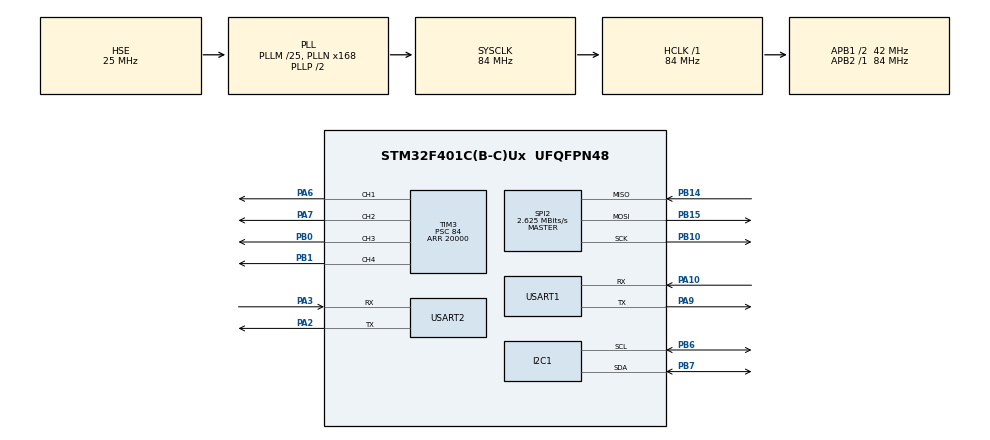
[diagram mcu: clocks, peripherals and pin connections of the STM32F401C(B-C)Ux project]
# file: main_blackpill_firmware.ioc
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Dma.Request0=USART1_RX
Dma.Request1=USART2_RX
Dma.USART1_RX.0.Direction=DMA_PERIPH_TO_MEMORY
Dma.USART1_RX.0.FIFOMode=DMA_FIFOMODE_DISABLE
Dma.USART1_RX.0.Instance=DMA2_Stream2
Dma.USART1_RX.0.MemDataAlignment=DMA_MDATAALIGN_BYTE
Dma.USART1_RX.0.MemInc=DMA_MINC_ENABLE
Dma.USART1_RX.0.Mode=DMA_CIRCULAR
Dma.USART1_RX.0.PeriphDataAlignment=DMA_PDATAALIGN_BYTE
Dma.USART1_RX.0.PeriphInc=DMA_PINC_DISABLE
Dma.USART1_RX.0.Priority=DMA_PRIORITY_LOW
Dma.USART2_RX.1.Direction=DMA_PERIPH_TO_MEMORY
Dma.USART2_RX.1.FIFOMode=DMA_FIFOMODE_DISABLE
Dma.USART2_RX.1.Instance=DMA1_Stream5
Dma.USART2_RX.1.MemDataAlignment=DMA_MDATAALIGN_BYTE
Dma.USART2_RX.1.MemInc=DMA_MINC_ENABLE
Dma.USART2_RX.1.Mode=DMA_CIRCULAR
Dma.USART2_RX.1.PeriphDataAlignment=DMA_PDATAALIGN_BYTE
Dma.USART2_RX.1.PeriphInc=DMA_PINC_DISABLE
Dma.USART2_RX.1.Priority=DMA_PRIORITY_LOW
Mcu.Family=STM32F4
Mcu.Name=STM32F401C(B-C)Ux
Mcu.Package=UFQFPN48
NVIC.DMA1_Stream5_IRQn=true\:0\:0\:false\:false\:true\:false\:true\:true
NVIC.DMA2_Stream2_IRQn=true\:0\:0\:false\:false\:true\:false\:true\:true
NVIC.PriorityGroup=NVIC_PRIORITYGROUP_4
NVIC.TIM3_IRQn=true\:0\:0\:false\:false\:true\:true\:true\:true
NVIC.USART1_IRQn=true\:0\:0\:false\:false\:true\:true\:true\:true
NVIC.USART2_IRQn=true\:0\:0\:false\:false\:true\:true\:true\:true
PA10.Mode=Asynchronous
PA10.Signal=USART1_RX
PA13.Mode=Serial_Wire
PA13.Signal=SYS_JTMS-SWDIO
PA14.Mode=Serial_Wire
PA14.Signal=SYS_JTCK-SWCLK
PA2.Mode=Asynchronous
PA2.Signal=USART2_TX
PA3.Mode=Asynchronous
PA3.Signal=USART2_RX
PA6.Signal=S_TIM3_CH1
PA7.Signal=S_TIM3_CH2
PA9.Mode=Asynchronous
PA9.Signal=USART1_TX
PB0.Signal=S_TIM3_CH3
PB1.Signal=S_TIM3_CH4
PB10.Mode=Full_Duplex_Master
PB10.Signal=SPI2_SCK
PB14.Mode=Full_Duplex_Master
PB14.Signal=SPI2_MISO
PB15.Mode=Full_Duplex_Master
PB15.Signal=SPI2_MOSI
PB6.Mode=I2C
PB6.Signal=I2C1_SCL
PB7.Mode=I2C
PB7.Signal=I2C1_SDA
PC14-OSC32_IN.Mode=LSE-External-Oscillator
PC14-OSC32_IN.Signal=RCC_OSC32_IN
PC15-OSC32_OUT.Mode=LSE-External-Oscillator
PC15-OSC32_OUT.Signal=RCC_OSC32_OUT
PH0\ -\ OSC_IN.Mode=HSE-External-Oscillator
PH0\ -\ OSC_IN.Signal=RCC_OSC_IN
PH1\ -\ OSC_OUT.Mode=HSE-External-Oscillator
PH1\ -\ OSC_OUT.Signal=RCC_OSC_OUT
ProjectManager.HeapSize=0x200
ProjectManager.StackSize=0x400
ProjectManager.TargetToolchain=STM32CubeIDE
RCC.48MHZClocksFreq_Value=42000000
RCC.AHBFreq_Value=84000000
RCC.APB1CLKDivider=RCC_HCLK_DIV2
RCC.APB1Freq_Value=42000000
RCC.APB1TimFreq_Value=84000000
RCC.APB2Freq_Value=84000000
RCC.APB2TimFreq_Value=84000000
RCC.CortexFreq_Value=84000000
RCC.EnbaleCSS=true
RCC.HCLKFreq_Value=84000000
RCC.HSE_VALUE=25000000
RCC.HSI_VALUE=16000000
RCC.PLLM=25
RCC.PLLN=168
RCC.PLLSourceVirtual=RCC_PLLSOURCE_HSE
RCC.SYSCLKFreq_VALUE=84000000
RCC.SYSCLKSource=RCC_SYSCLKSOURCE_PLLCLK
RCC.VCOOutputFreq_Value=168000000
SH.S_TIM3_CH1.0=TIM3_CH1,PWM Generation1 CH1
SH.S_TIM3_CH2.0=TIM3_CH2,PWM Generation2 CH2
SH.S_TIM3_CH3.0=TIM3_CH3,PWM Generation3 CH3
SH.S_TIM3_CH4.0=TIM3_CH4,PWM Generation4 CH4
SPI2.BaudRatePrescaler=SPI_BAUDRATEPRESCALER_16
SPI2.CLKPhase=SPI_PHASE_2EDGE
SPI2.CLKPolarity=SPI_POLARITY_HIGH
SPI2.CalculateBaudRate=2.625 MBits/s
SPI2.Direction=SPI_DIRECTION_2LINES
SPI2.Mode=SPI_MODE_MASTER
SPI2.VirtualType=VM_MASTER
TIM3.AutoReloadPreload=TIM_AUTORELOAD_PRELOAD_ENABLE
TIM3.Channel-PWM\ Generation1\ CH1=TIM_CHANNEL_1
TIM3.Channel-PWM\ Generation2\ CH2=TIM_CHANNEL_2
TIM3.Channel-PWM\ Generation3\ CH3=TIM_CHANNEL_3
TIM3.Channel-PWM\ Generation4\ CH4=TIM_CHANNEL_4
TIM3.Period=20000
TIM3.Prescaler=84
TIM3.Pulse-PWM\ Generation1\ CH1=0
USART1.VirtualMode=VM_ASYNC
USART2.VirtualMode=VM_ASYNC
VP_TIM3_VS_ClockSourceINT.Mode=Internal
board=custom

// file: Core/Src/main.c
/* USER CODE BEGIN Header */
/**
  ******************************************************************************
  * @file           : main.c
  * @brief          : Main program body
  ******************************************************************************
  * @attention
  *
  * Copyright (c) 2023 STMicroelectronics.
  * All rights reserved.
  *
  * This software is licensed under terms that can be found in the LICENSE file
  * in the root directory of this software component.
  * If no LICENSE file comes with this software, it is provided AS-IS.
  *
  ******************************************************************************
  */
/* USER CODE END Header */
#include "main.h"
#include "dma.h"
#include "i2c.h"
#include "spi.h"
#include "tim.h"
#include "usart.h"
#include "gpio.h"

/* USER CODE BEGIN Includes */
//Kütüphanelerin .h larını burada include et

#include "mpu6050.h"
#include "KalmanFilter.h"
#include "PID.h"
#include "Telemetry.h"
#include "mpu6050.h"
#include "MotorControl.h"

#include "../../Rc/ibus.h"
/* USER CODE END Includes */

/* USER CODE BEGIN PD */

//define'lar buraya

/* USER CODE END PD */

/* USER CODE END PFP */

int main(void)
{
  /* USER CODE BEGIN 1 */
	PID_data pid_data;
	DES_values des_values;
	RC_data rc_data;
	MPU6050_t mpu6050_t;
	Kalman_t KalmanX = {
			.Q_angle = 0.001f,
			.Q_bias = 0.003f,
			.R_measure = 0.03f
	};

	Kalman_t KalmanY = {
			.Q_angle = 0.001f,
			.Q_bias = 0.003f,
			.R_measure = 0.03f,
	};
	MOTOR_values  motor_values;

  /* USER CODE END 1 */

  /* MCU Configuration--------------------------------------------------------*/

  /* Reset of all peripherals, Initializes the Flash interface and the Systick. */

  /* USER CODE BEGIN 2 */
  /*
   callibrateGyro();
   callibrateAcce();
   pidReset();

      */
  if (init() == 1)
    report_error("Could not intialize the vehicle.", false);
  /* USER CODE END 2 */

  /* USER CODE BEGIN WHILE */
  while (1)
  {
	 ibus_read(
			 &rc_data);

	 MPU6050_Read_All(
			 &hi2c1,
			 &mpu6050_t);

	 KalmanSolve(
			 &mpu6050_t,
			 &KalmanX,
			 &KalmanY);

	 PIDcontroller(
			 &pid_data,
			 &mpu6050_t,
			 &des_values,
			 &motor_values);

	 Drive_ESC(&motor_values);
	 HAL_Delay(10);
    /* USER CODE END WHILE */

  }
}

int init(void){
	  HAL_Init();

	  /* Configure the system clock */
	  SystemClock_Config();

	  /* USER CODE BEGIN SysInit */
	  ibus_init();
	  adxl_init();
	  MPU6050_Init(&hi2c1);
	  /* USER CODE END SysInit */

	  /* Initialize all configured peripherals */
	  MX_GPIO_Init();
	  MX_DMA_Init();
	  MX_I2C1_Init();
	  MX_USART1_UART_Init();
	  MX_USART2_UART_Init();
	  MX_TIM3_Init();
	  MX_SPI2_Init();

	  return 0;
}

int report_error(char *err_msg, int cont){
	return 1;
}

void SystemClock_Config(void)
{
  RCC_OscInitTypeDef RCC_OscInitStruct = {0};
  RCC_ClkInitTypeDef RCC_ClkInitStruct = {0};

  /** Configure the main internal regulator output voltage
  */
  __HAL_RCC_PWR_CLK_ENABLE();
  __HAL_PWR_VOLTAGESCALING_CONFIG(PWR_REGULATOR_VOLTAGE_SCALE2);

  /** Initializes the RCC Oscillators according to the specified parameters
  * in the RCC_OscInitTypeDef structure.
  */
  RCC_OscInitStruct.OscillatorType = RCC_OSCILLATORTYPE_HSE;
  RCC_OscInitStruct.HSEState = RCC_HSE_ON;
  RCC_OscInitStruct.PLL.PLLState = RCC_PLL_ON;
  RCC_OscInitStruct.PLL.PLLSource = RCC_PLLSOURCE_HSE;
  RCC_OscInitStruct.PLL.PLLM = 25;
  RCC_OscInitStruct.PLL.PLLN = 168;
  RCC_OscInitStruct.PLL.PLLP = RCC_PLLP_DIV2;
  RCC_OscInitStruct.PLL.PLLQ = 4;
  if (HAL_RCC_OscConfig(&RCC_OscInitStruct) != HAL_OK)
  {
    Error_Handler();
  }

  /** Initializes the CPU, AHB and APB buses clocks
  */
  RCC_ClkInitStruct.ClockType = RCC_CLOCKTYPE_HCLK|RCC_CLOCKTYPE_SYSCLK
                              |RCC_CLOCKTYPE_PCLK1|RCC_CLOCKTYPE_PCLK2;
  RCC_ClkInitStruct.SYSCLKSource = RCC_SYSCLKSOURCE_PLLCLK;
  RCC_ClkInitStruct.AHBCLKDivider = RCC_SYSCLK_DIV1;
  RCC_ClkInitStruct.APB1CLKDivider = RCC_HCLK_DIV2;
  RCC_ClkInitStruct.APB2CLKDivider = RCC_HCLK_DIV1;

  if (HAL_RCC_ClockConfig(&RCC_ClkInitStruct, FLASH_LATENCY_2) != HAL_OK)
  {
    Error_Handler();
  }

  /** Enables the Clock Security System
  */
  HAL_RCC_EnableCSS();
}

/* USER CODE BEGIN 4 */
void HAL_UART_RxCpltCallback(UART_HandleTypeDef *huart)
{
	if(huart == IBUS_UART)
		ibus_reset_failsafe();
}
/* USER CODE END 4 */

void Error_Handler(void)
{
  __disable_irq();
  while (1)
  {
  }
}
